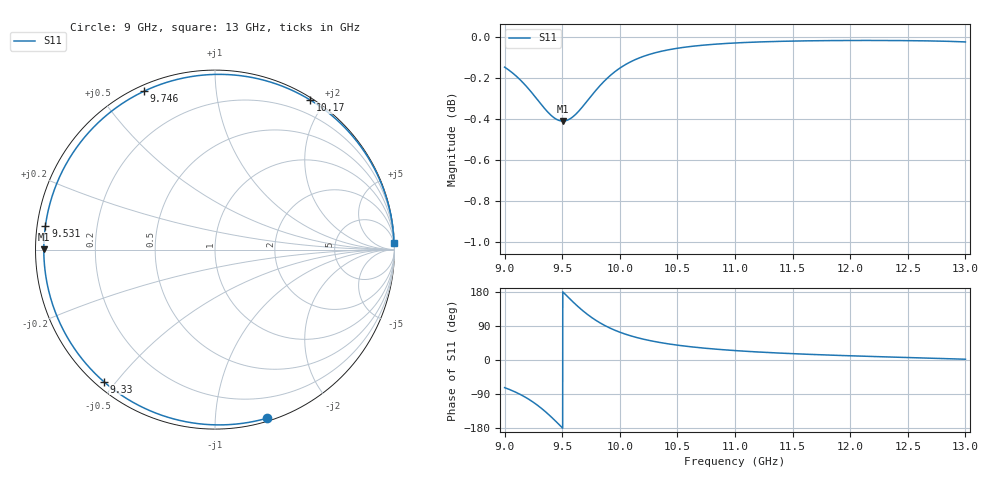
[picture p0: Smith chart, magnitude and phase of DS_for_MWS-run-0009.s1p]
! TOUCHSTONE file generated by CST DESIGN STUDIO
! Date and time: Tue Feb  4 17:03:25 2025
! Project name: C:\Work\MatlabApps\UnitCellOptimizationMatlab\CST\unitcell.cst
! Tree item: Tasks\Sweep1\SPara1\S-Parameters
! Header version: 2024
! Port assignment regex: !\s*Touchstone port\s*([0-9]+)\s*=\s*(CST MWS port|CST DES external port|CST DES block port)\s*(.+)\s* \(\"(.*)\"\)(\s*mode\s*([0-9]+))?.*
! Touchstone port assignment:
! Touchstone port 1 = CST DES external port 1 ("")
# GHz S MA R 50
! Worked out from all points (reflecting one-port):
!   4001 points, 9 GHz to 13 GHz, reference 50 ohm
!   lowest |S11| = -0.4 dB at 9.505 GHz (marker M1), VSWR 42.34, Z = 1.18 + j0.0537 ohm
!   phase of S11 starts at -73 deg and turns -285 deg over the sweep
!   S11 on the Smith chart (normalised r, x): 9 GHz: 0.02, -1.35; 9.33 GHz: 0.02, -0.46; 9.531 GHz: 0.02, +0.07; 9.746 GHz: 0.02, +0.65; 10.17 GHz: 0.03, +1.82; 13 GHz: 5, +56
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9  0.9831 -72.9
9.089  0.9788 -84.0
9.192  0.9724 -100.3
9.264  0.967 -114.7
9.33  0.9619 -130.1
9.376  0.9586 -142.2
9.423  0.9559 -155.5
9.462  0.9544 -167.1
9.5  0.9539 -178.6
9.505  0.9539 179.9
9.531  0.9541 171.9
9.584  0.9557 156.1
9.643  0.9591 139.4
9.694  0.9629 126.3
9.746  0.9669 114.2
9.798  0.9708 103.6
9.855  0.9748 93.4
9.927  0.979 82.5
10  0.9825 73.4
10.168  0.9881 57.7
10.319  0.9912 47.8
10.5  0.9935 39.2
10.721  0.9952 31.6
11  0.9965 24.8
11.5  0.9975 16.7
12  0.9979 11.1
12.5  0.9978 6.5
13  0.997 2.0
